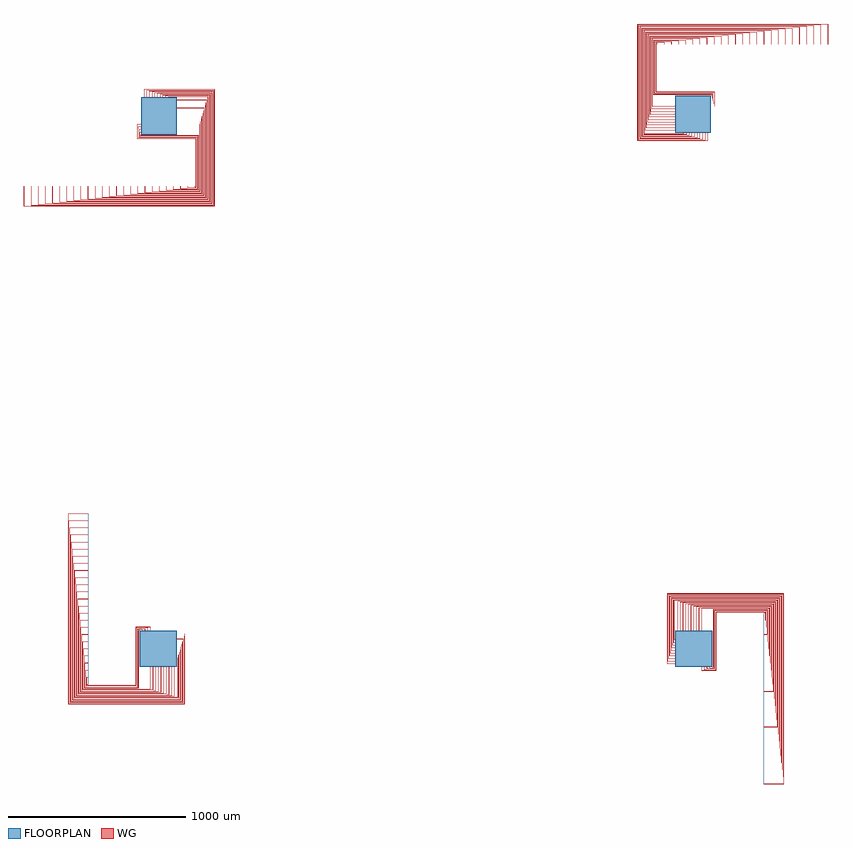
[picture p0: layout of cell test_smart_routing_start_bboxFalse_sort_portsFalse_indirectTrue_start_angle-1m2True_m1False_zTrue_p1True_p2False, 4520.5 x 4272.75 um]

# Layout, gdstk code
import gdstk
lib = gdstk.Library(unit=1e-6, precision=1e-09)
def R(c, l, rs):  # rectangles x0, y0, x1, y1
    for r in rs: c.add(gdstk.rectangle(r[:2], r[2:], *l))
def P(c, l, *ps):  # polygons
    for p in ps: c.add(gdstk.Polygon(p, *l))
WG = (1, 0)
FLOORPLAN = (10, 0)

test_smart_routing_start = lib.new_cell('test_smart_routing_start_bboxFalse_sort_portsFalse_indirectTrue_start_angle-1m2True_m1False_zTrue_p1True_p2False')
P(test_smart_routing_start, WG, [(3100,3049.75),(3100,3049.95),(3122.3,3049.95),(3122.3,3132.55),(2795.55,3132.55),(2795.55,3404.2),(2799.95,3404.2),(2799.95,3400),(2799.75,3400),(2799.75,3404),(2795.75,3404),(2795.75,3132.75),(3122.5,3132.75),(3122.5,3049.75)],
  [(3100,3050.05),(3100,3050.25),(3122,3050.25),(3122,3132.25),(2795.25,3132.25),(2795.25,3404.5),(2800.25,3404.5),(2800.25,3400),(2800.05,3400),(2800.05,3404.3),(2795.45,3404.3),(2795.45,3132.45),(3122.2,3132.45),(3122.2,3050.05)],
  [(3100,3064.75),(3100,3064.95),(3117.8,3064.95),(3117.8,3128.05),(2791.05,3128.05),(2791.05,3408.7),(2839.95,3408.7),(2839.95,3400),(2839.75,3400),(2839.75,3408.5),(2791.25,3408.5),(2791.25,3128.25),(3118,3128.25),(3118,3064.75)],
  [(3100,3065.05),(3100,3065.25),(3117.5,3065.25),(3117.5,3127.75),(2790.75,3127.75),(2790.75,3409),(2840.25,3409),(2840.25,3400),(2840.05,3400),(2840.05,3408.8),(2790.95,3408.8),(2790.95,3127.95),(3117.7,3127.95),(3117.7,3065.05)],
  [(3100,3079.75),(3100,3079.95),(3113.3,3079.95),(3113.3,3123.55),(2786.55,3123.55),(2786.55,3413.2),(2879.95,3413.2),(2879.95,3400),(2879.75,3400),(2879.75,3413),(2786.75,3413),(2786.75,3123.75),(3113.5,3123.75),(3113.5,3079.75)],
  [(3100,3080.05),(3100,3080.25),(3113,3080.25),(3113,3123.25),(2786.25,3123.25),(2786.25,3413.5),(2880.25,3413.5),(2880.25,3400),(2880.05,3400),(2880.05,3413.3),(2786.45,3413.3),(2786.45,3123.45),(3113.2,3123.45),(3113.2,3080.05)],
  [(3100,3094.75),(3100,3094.95),(3108.8,3094.95),(3108.8,3119.05),(2782.05,3119.05),(2782.05,3417.7),(2919.95,3417.7),(2919.95,3400),(2919.75,3400),(2919.75,3417.5),(2782.25,3417.5),(2782.25,3119.25),(3109,3119.25),(3109,3094.75)],
  [(3100,3095.05),(3100,3095.25),(3108.5,3095.25),(3108.5,3118.75),(2781.75,3118.75),(2781.75,3418),(2920.25,3418),(2920.25,3400),(2920.05,3400),(2920.05,3417.8),(2781.95,3417.8),(2781.95,3118.95),(3108.7,3118.95),(3108.7,3095.05)],
  [(3100,3109.75),(3100,3109.95),(3104.3,3109.95),(3104.3,3114.55),(2777.55,3114.55),(2777.55,3422.2),(2959.95,3422.2),(2959.95,3400),(2959.75,3400),(2959.75,3422),(2777.75,3422),(2777.75,3114.75),(3104.5,3114.75),(3104.5,3109.75)],
  [(3100,3110.05),(3100,3110.25),(3104,3110.25),(3104,3114.25),(2777.25,3114.25),(2777.25,3422.5),(2960.25,3422.5),(2960.25,3400),(2960.05,3400),(2960.05,3422.3),(2777.45,3422.3),(2777.45,3114.45),(3104.2,3114.45),(3104.2,3110.05)],
  [(2773.05,3050.05),(2773.05,3426.7),(2999.95,3426.7),(2999.95,3400),(2999.75,3400),(2999.75,3426.5),(2773.25,3426.5),(2773.25,3050.25),(2900,3050.25),(2900,3050.05)],
  [(2772.75,3049.75),(2772.75,3427),(3000.25,3427),(3000.25,3400),(3000.05,3400),(3000.05,3426.8),(2772.95,3426.8),(2772.95,3049.95),(2900,3049.95),(2900,3049.75)],
  [(2768.55,3035.05),(2768.55,3431.2),(3039.95,3431.2),(3039.95,3400),(3039.75,3400),(3039.75,3431),(2768.75,3431),(2768.75,3035.25),(2900,3035.25),(2900,3035.05)],
  [(2768.25,3034.75),(2768.25,3431.5),(3040.25,3431.5),(3040.25,3400),(3040.05,3400),(3040.05,3431.3),(2768.45,3431.3),(2768.45,3034.95),(2900,3034.95),(2900,3034.75)],
  [(2764.05,3020.05),(2764.05,3435.7),(3079.95,3435.7),(3079.95,3400),(3079.75,3400),(3079.75,3435.5),(2764.25,3435.5),(2764.25,3020.25),(2900,3020.25),(2900,3020.05)],
  [(2763.75,3019.75),(2763.75,3436),(3080.25,3436),(3080.25,3400),(3080.05,3400),(3080.05,3435.8),(2763.95,3435.8),(2763.95,3019.95),(2900,3019.95),(2900,3019.75)],
  [(2759.55,3005.05),(2759.55,3440.2),(3119.95,3440.2),(3119.95,3400),(3119.75,3400),(3119.75,3440),(2759.75,3440),(2759.75,3005.25),(2900,3005.25),(2900,3005.05)],
  [(2759.25,3004.75),(2759.25,3440.5),(3120.25,3440.5),(3120.25,3400),(3120.05,3400),(3120.05,3440.3),(2759.45,3440.3),(2759.45,3004.95),(2900,3004.95),(2900,3004.75)],
  [(2755.05,2990.05),(2755.05,3444.7),(3159.95,3444.7),(3159.95,3400),(3159.75,3400),(3159.75,3444.5),(2755.25,3444.5),(2755.25,2990.25),(2900,2990.25),(2900,2990.05)],
  [(2754.75,2989.75),(2754.75,3445),(3160.25,3445),(3160.25,3400),(3160.05,3400),(3160.05,3444.8),(2754.95,3444.8),(2754.95,2989.95),(2900,2989.95),(2900,2989.75)],
  [(2750.55,2975.05),(2750.55,3449.2),(3199.95,3449.2),(3199.95,3400),(3199.75,3400),(3199.75,3449),(2750.75,3449),(2750.75,2975.25),(2900,2975.25),(2900,2975.05)],
  [(2750.25,2974.75),(2750.25,3449.5),(3200.25,3449.5),(3200.25,3400),(3200.05,3400),(3200.05,3449.3),(2750.45,3449.3),(2750.45,2974.95),(2900,2974.95),(2900,2974.75)],
  [(2746.05,2960.05),(2746.05,3453.7),(3239.95,3453.7),(3239.95,3400),(3239.75,3400),(3239.75,3453.5),(2746.25,3453.5),(2746.25,2960.25),(2900,2960.25),(2900,2960.05)],
  [(2745.75,2959.75),(2745.75,3454),(3240.25,3454),(3240.25,3400),(3240.05,3400),(3240.05,3453.8),(2745.95,3453.8),(2745.95,2959.95),(2900,2959.95),(2900,2959.75)],
  [(2741.55,2945.05),(2741.55,3458.2),(3279.95,3458.2),(3279.95,3400),(3279.75,3400),(3279.75,3458),(2741.75,3458),(2741.75,2945.25),(2900,2945.25),(2900,2945.05)],
  [(2741.25,2944.75),(2741.25,3458.5),(3280.25,3458.5),(3280.25,3400),(3280.05,3400),(3280.05,3458.3),(2741.45,3458.3),(2741.45,2944.95),(2900,2944.95),(2900,2944.75)],
  [(2737.05,2930.05),(2737.05,3462.7),(3319.95,3462.7),(3319.95,3400),(3319.75,3400),(3319.75,3462.5),(2737.25,3462.5),(2737.25,2930.25),(2900,2930.25),(2900,2930.05)],
  [(2736.75,2929.75),(2736.75,3463),(3320.25,3463),(3320.25,3400),(3320.05,3400),(3320.05,3462.8),(2736.95,3462.8),(2736.95,2929.95),(2900,2929.95),(2900,2929.75)],
  [(2732.55,2915.05),(2732.55,3467.2),(3359.95,3467.2),(3359.95,3400),(3359.75,3400),(3359.75,3467),(2732.75,3467),(2732.75,2915.25),(2900,2915.25),(2900,2915.05)],
  [(2732.25,2914.75),(2732.25,3467.5),(3360.25,3467.5),(3360.25,3400),(3360.05,3400),(3360.05,3467.3),(2732.45,3467.3),(2732.45,2914.95),(2900,2914.95),(2900,2914.75)],
  [(2728.05,2895.8),(2728.05,3471.7),(3399.95,3471.7),(3399.95,3400),(3399.75,3400),(3399.75,3471.5),(2728.25,3471.5),(2728.25,2896),(2949.75,2896),(2949.75,2900),(2949.95,2900),(2949.95,2895.8)],
  [(2727.75,2895.5),(2727.75,3472),(3400.25,3472),(3400.25,3400),(3400.05,3400),(3400.05,3471.8),(2727.95,3471.8),(2727.95,2895.7),(2950.05,2895.7),(2950.05,2900),(2950.25,2900),(2950.25,2895.5)],
  [(2723.55,2891.3),(2723.55,3476.2),(3439.95,3476.2),(3439.95,3400),(3439.75,3400),(3439.75,3476),(2723.75,3476),(2723.75,2891.5),(2964.75,2891.5),(2964.75,2900),(2964.95,2900),(2964.95,2891.3)],
  [(2723.25,2891),(2723.25,3476.5),(3440.25,3476.5),(3440.25,3400),(3440.05,3400),(3440.05,3476.3),(2723.45,3476.3),(2723.45,2891.2),(2965.05,2891.2),(2965.05,2900),(2965.25,2900),(2965.25,2891)],
  [(2719.05,2886.8),(2719.05,3480.7),(3479.95,3480.7),(3479.95,3400),(3479.75,3400),(3479.75,3480.5),(2719.25,3480.5),(2719.25,2887),(2979.75,2887),(2979.75,2900),(2979.95,2900),(2979.95,2886.8)],
  [(2718.75,2886.5),(2718.75,3481),(3480.25,3481),(3480.25,3400),(3480.05,3400),(3480.05,3480.8),(2718.95,3480.8),(2718.95,2886.7),(2980.05,2886.7),(2980.05,2900),(2980.25,2900),(2980.25,2886.5)],
  [(2714.55,2882.3),(2714.55,3485.2),(3519.95,3485.2),(3519.95,3400),(3519.75,3400),(3519.75,3485),(2714.75,3485),(2714.75,2882.5),(2994.75,2882.5),(2994.75,2900),(2994.95,2900),(2994.95,2882.3)],
  [(2714.25,2882),(2714.25,3485.5),(3520.25,3485.5),(3520.25,3400),(3520.05,3400),(3520.05,3485.3),(2714.45,3485.3),(2714.45,2882.2),(2995.05,2882.2),(2995.05,2900),(2995.25,2900),(2995.25,2882)],
  [(2710.05,2877.8),(2710.05,3489.7),(3559.95,3489.7),(3559.95,3400),(3559.75,3400),(3559.75,3489.5),(2710.25,3489.5),(2710.25,2878),(3009.75,2878),(3009.75,2900),(3009.95,2900),(3009.95,2877.8)],
  [(2709.75,2877.5),(2709.75,3490),(3560.25,3490),(3560.25,3400),(3560.05,3400),(3560.05,3489.8),(2709.95,3489.8),(2709.95,2877.7),(3010.05,2877.7),(3010.05,2900),(3010.25,2900),(3010.25,2877.5)],
  [(2705.55,2873.3),(2705.55,3494.2),(3599.95,3494.2),(3599.95,3400),(3599.75,3400),(3599.75,3494),(2705.75,3494),(2705.75,2873.5),(3024.75,2873.5),(3024.75,2900),(3024.95,2900),(3024.95,2873.3)],
  [(2705.25,2873),(2705.25,3494.5),(3600.25,3494.5),(3600.25,3400),(3600.05,3400),(3600.05,3494.3),(2705.45,3494.3),(2705.45,2873.2),(3025.05,2873.2),(3025.05,2900),(3025.25,2900),(3025.25,2873)],
  [(2701.05,2868.8),(2701.05,3498.7),(3639.95,3498.7),(3639.95,3400),(3639.75,3400),(3639.75,3498.5),(2701.25,3498.5),(2701.25,2869),(3039.75,2869),(3039.75,2900),(3039.95,2900),(3039.95,2868.8)],
  [(2700.75,2868.5),(2700.75,3499),(3640.25,3499),(3640.25,3400),(3640.05,3400),(3640.05,3498.8),(2700.95,3498.8),(2700.95,2868.7),(3040.05,2868.7),(3040.05,2900),(3040.25,2900),(3040.25,2868.5)],
  [(2696.55,2864.3),(2696.55,3503.2),(3679.95,3503.2),(3679.95,3400),(3679.75,3400),(3679.75,3503),(2696.75,3503),(2696.75,2864.5),(3054.75,2864.5),(3054.75,2900),(3054.95,2900),(3054.95,2864.3)],
  [(2696.25,2864),(2696.25,3503.5),(3680.25,3503.5),(3680.25,3400),(3680.05,3400),(3680.05,3503.3),(2696.45,3503.3),(2696.45,2864.2),(3055.05,2864.2),(3055.05,2900),(3055.25,2900),(3055.25,2864)],
  [(2692.05,2859.8),(2692.05,3507.7),(3719.95,3507.7),(3719.95,3400),(3719.75,3400),(3719.75,3507.5),(2692.25,3507.5),(2692.25,2860),(3069.75,2860),(3069.75,2900),(3069.95,2900),(3069.95,2859.8)],
  [(2691.75,2859.5),(2691.75,3508),(3720.25,3508),(3720.25,3400),(3720.05,3400),(3720.05,3507.8),(2691.95,3507.8),(2691.95,2859.7),(3070.05,2859.7),(3070.05,2900),(3070.25,2900),(3070.25,2859.5)],
  [(2687.55,2855.3),(2687.55,3512.2),(3759.95,3512.2),(3759.95,3400),(3759.75,3400),(3759.75,3512),(2687.75,3512),(2687.75,2855.5),(3084.75,2855.5),(3084.75,2900),(3084.95,2900),(3084.95,2855.3)],
  [(2687.25,2855),(2687.25,3512.5),(3760.25,3512.5),(3760.25,3400),(3760.05,3400),(3760.05,3512.3),(2687.45,3512.3),(2687.45,2855.2),(3085.05,2855.2),(3085.05,2900),(3085.25,2900),(3085.25,2855)],
  [(199.75,2595.5),(199.75,2600),(199.95,2600),(199.95,2595.7),(204.55,2595.7),(204.55,2867.55),(-122.2,2867.55),(-122.2,2949.95),(-100,2949.95),(-100,2949.75),(-122,2949.75),(-122,2867.75),(204.75,2867.75),(204.75,2595.5)],
  [(200.05,2595.8),(200.05,2600),(200.25,2600),(200.25,2596),(204.25,2596),(204.25,2867.25),(-122.5,2867.25),(-122.5,2950.25),(-100,2950.25),(-100,2950.05),(-122.3,2950.05),(-122.3,2867.45),(204.45,2867.45),(204.45,2595.8)],
  [(159.75,2591),(159.75,2600),(159.95,2600),(159.95,2591.2),(209.05,2591.2),(209.05,2872.05),(-117.7,2872.05),(-117.7,2934.95),(-100,2934.95),(-100,2934.75),(-117.5,2934.75),(-117.5,2872.25),(209.25,2872.25),(209.25,2591)],
  [(160.05,2591.3),(160.05,2600),(160.25,2600),(160.25,2591.5),(208.75,2591.5),(208.75,2871.75),(-118,2871.75),(-118,2935.25),(-100,2935.25),(-100,2935.05),(-117.8,2935.05),(-117.8,2871.95),(208.95,2871.95),(208.95,2591.3)],
  [(119.75,2586.5),(119.75,2600),(119.95,2600),(119.95,2586.7),(213.55,2586.7),(213.55,2876.55),(-113.2,2876.55),(-113.2,2919.95),(-100,2919.95),(-100,2919.75),(-113,2919.75),(-113,2876.75),(213.75,2876.75),(213.75,2586.5)],
  [(120.05,2586.8),(120.05,2600),(120.25,2600),(120.25,2587),(213.25,2587),(213.25,2876.25),(-113.5,2876.25),(-113.5,2920.25),(-100,2920.25),(-100,2920.05),(-113.3,2920.05),(-113.3,2876.45),(213.45,2876.45),(213.45,2586.8)],
  [(79.75,2582),(79.75,2600),(79.95,2600),(79.95,2582.2),(218.05,2582.2),(218.05,2881.05),(-108.7,2881.05),(-108.7,2904.95),(-100,2904.95),(-100,2904.75),(-108.5,2904.75),(-108.5,2881.25),(218.25,2881.25),(218.25,2582)],
  [(80.05,2582.3),(80.05,2600),(80.25,2600),(80.25,2582.5),(217.75,2582.5),(217.75,2880.75),(-109,2880.75),(-109,2905.25),(-100,2905.25),(-100,2905.05),(-108.8,2905.05),(-108.8,2880.95),(217.95,2880.95),(217.95,2582.3)],
  [(39.75,2577.5),(39.75,2600),(39.95,2600),(39.95,2577.7),(222.55,2577.7),(222.55,2885.55),(-104.2,2885.55),(-104.2,2889.95),(-100,2889.95),(-100,2889.75),(-104,2889.75),(-104,2885.75),(222.75,2885.75),(222.75,2577.5)],
  [(40.05,2577.8),(40.05,2600),(40.25,2600),(40.25,2578),(222.25,2578),(222.25,2885.25),(-104.5,2885.25),(-104.5,2890.25),(-100,2890.25),(-100,2890.05),(-104.3,2890.05),(-104.3,2885.45),(222.45,2885.45),(222.45,2577.8)],
  [(0.05,2573.3),(0.05,2600),(0.25,2600),(0.25,2573.5),(226.75,2573.5),(226.75,2949.75),(100,2949.75),(100,2949.95),(226.95,2949.95),(226.95,2573.3)],
  [(-0.25,2573),(-0.25,2600),(-0.05,2600),(-0.05,2573.2),(227.05,2573.2),(227.05,2950.05),(100,2950.05),(100,2950.25),(227.25,2950.25),(227.25,2573)],
  [(-39.95,2568.8),(-39.95,2600),(-39.75,2600),(-39.75,2569),(231.25,2569),(231.25,2964.75),(100,2964.75),(100,2964.95),(231.45,2964.95),(231.45,2568.8)],
  [(-40.25,2568.5),(-40.25,2600),(-40.05,2600),(-40.05,2568.7),(231.55,2568.7),(231.55,2965.05),(100,2965.05),(100,2965.25),(231.75,2965.25),(231.75,2568.5)],
  [(-79.95,2564.3),(-79.95,2600),(-79.75,2600),(-79.75,2564.5),(235.75,2564.5),(235.75,2979.75),(100,2979.75),(100,2979.95),(235.95,2979.95),(235.95,2564.3)],
  [(-80.25,2564),(-80.25,2600),(-80.05,2600),(-80.05,2564.2),(236.05,2564.2),(236.05,2980.05),(100,2980.05),(100,2980.25),(236.25,2980.25),(236.25,2564)],
  [(-119.95,2559.8),(-119.95,2600),(-119.75,2600),(-119.75,2560),(240.25,2560),(240.25,2994.75),(100,2994.75),(100,2994.95),(240.45,2994.95),(240.45,2559.8)],
  [(-120.25,2559.5),(-120.25,2600),(-120.05,2600),(-120.05,2559.7),(240.55,2559.7),(240.55,2995.05),(100,2995.05),(100,2995.25),(240.75,2995.25),(240.75,2559.5)],
  [(-159.95,2555.3),(-159.95,2600),(-159.75,2600),(-159.75,2555.5),(244.75,2555.5),(244.75,3009.75),(100,3009.75),(100,3009.95),(244.95,3009.95),(244.95,2555.3)],
  [(-160.25,2555),(-160.25,2600),(-160.05,2600),(-160.05,2555.2),(245.05,2555.2),(245.05,3010.05),(100,3010.05),(100,3010.25),(245.25,3010.25),(245.25,2555)],
  [(-199.95,2550.8),(-199.95,2600),(-199.75,2600),(-199.75,2551),(249.25,2551),(249.25,3024.75),(100,3024.75),(100,3024.95),(249.45,3024.95),(249.45,2550.8)],
  [(-200.25,2550.5),(-200.25,2600),(-200.05,2600),(-200.05,2550.7),(249.55,2550.7),(249.55,3025.05),(100,3025.05),(100,3025.25),(249.75,3025.25),(249.75,2550.5)],
  [(-239.95,2546.3),(-239.95,2600),(-239.75,2600),(-239.75,2546.5),(253.75,2546.5),(253.75,3039.75),(100,3039.75),(100,3039.95),(253.95,3039.95),(253.95,2546.3)],
  [(-240.25,2546),(-240.25,2600),(-240.05,2600),(-240.05,2546.2),(254.05,2546.2),(254.05,3040.05),(100,3040.05),(100,3040.25),(254.25,3040.25),(254.25,2546)],
  [(-279.95,2541.8),(-279.95,2600),(-279.75,2600),(-279.75,2542),(258.25,2542),(258.25,3054.75),(100,3054.75),(100,3054.95),(258.45,3054.95),(258.45,2541.8)],
  [(-280.25,2541.5),(-280.25,2600),(-280.05,2600),(-280.05,2541.7),(258.55,2541.7),(258.55,3055.05),(100,3055.05),(100,3055.25),(258.75,3055.25),(258.75,2541.5)],
  [(-319.95,2537.3),(-319.95,2600),(-319.75,2600),(-319.75,2537.5),(262.75,2537.5),(262.75,3069.75),(100,3069.75),(100,3069.95),(262.95,3069.95),(262.95,2537.3)],
  [(-320.25,2537),(-320.25,2600),(-320.05,2600),(-320.05,2537.2),(263.05,2537.2),(263.05,3070.05),(100,3070.05),(100,3070.25),(263.25,3070.25),(263.25,2537)],
  [(-359.95,2532.8),(-359.95,2600),(-359.75,2600),(-359.75,2533),(267.25,2533),(267.25,3084.75),(100,3084.75),(100,3084.95),(267.45,3084.95),(267.45,2532.8)],
  [(-360.25,2532.5),(-360.25,2600),(-360.05,2600),(-360.05,2532.7),(267.55,2532.7),(267.55,3085.05),(100,3085.05),(100,3085.25),(267.75,3085.25),(267.75,2532.5)],
  [(-399.95,2528.3),(-399.95,2600),(-399.75,2600),(-399.75,2528.5),(271.75,2528.5),(271.75,3104),(50.25,3104),(50.25,3100),(50.05,3100),(50.05,3104.2),(271.95,3104.2),(271.95,2528.3)],
  [(-400.25,2528),(-400.25,2600),(-400.05,2600),(-400.05,2528.2),(272.05,2528.2),(272.05,3104.3),(49.95,3104.3),(49.95,3100),(49.75,3100),(49.75,3104.5),(272.25,3104.5),(272.25,2528)],
  [(-439.95,2523.8),(-439.95,2600),(-439.75,2600),(-439.75,2524),(276.25,2524),(276.25,3108.5),(35.25,3108.5),(35.25,3100),(35.05,3100),(35.05,3108.7),(276.45,3108.7),(276.45,2523.8)],
  [(-440.25,2523.5),(-440.25,2600),(-440.05,2600),(-440.05,2523.7),(276.55,2523.7),(276.55,3108.8),(34.95,3108.8),(34.95,3100),(34.75,3100),(34.75,3109),(276.75,3109),(276.75,2523.5)],
  [(-479.95,2519.3),(-479.95,2600),(-479.75,2600),(-479.75,2519.5),(280.75,2519.5),(280.75,3113),(20.25,3113),(20.25,3100),(20.05,3100),(20.05,3113.2),(280.95,3113.2),(280.95,2519.3)],
  [(-480.25,2519),(-480.25,2600),(-480.05,2600),(-480.05,2519.2),(281.05,2519.2),(281.05,3113.3),(19.95,3113.3),(19.95,3100),(19.75,3100),(19.75,3113.5),(281.25,3113.5),(281.25,2519)],
  [(-519.95,2514.8),(-519.95,2600),(-519.75,2600),(-519.75,2515),(285.25,2515),(285.25,3117.5),(5.25,3117.5),(5.25,3100),(5.05,3100),(5.05,3117.7),(285.45,3117.7),(285.45,2514.8)],
  [(-520.25,2514.5),(-520.25,2600),(-520.05,2600),(-520.05,2514.7),(285.55,2514.7),(285.55,3117.8),(4.95,3117.8),(4.95,3100),(4.75,3100),(4.75,3118),(285.75,3118),(285.75,2514.5)],
  [(-559.95,2510.3),(-559.95,2600),(-559.75,2600),(-559.75,2510.5),(289.75,2510.5),(289.75,3122),(-9.75,3122),(-9.75,3100),(-9.95,3100),(-9.95,3122.2),(289.95,3122.2),(289.95,2510.3)],
  [(-560.25,2510),(-560.25,2600),(-560.05,2600),(-560.05,2510.2),(290.05,2510.2),(290.05,3122.3),(-10.05,3122.3),(-10.05,3100),(-10.25,3100),(-10.25,3122.5),(290.25,3122.5),(290.25,2510)],
  [(-599.95,2505.8),(-599.95,2600),(-599.75,2600),(-599.75,2506),(294.25,2506),(294.25,3126.5),(-24.75,3126.5),(-24.75,3100),(-24.95,3100),(-24.95,3126.7),(294.45,3126.7),(294.45,2505.8)],
  [(-600.25,2505.5),(-600.25,2600),(-600.05,2600),(-600.05,2505.7),(294.55,2505.7),(294.55,3126.8),(-25.05,3126.8),(-25.05,3100),(-25.25,3100),(-25.25,3127),(294.75,3127),(294.75,2505.5)],
  [(-639.95,2501.3),(-639.95,2600),(-639.75,2600),(-639.75,2501.5),(298.75,2501.5),(298.75,3131),(-39.75,3131),(-39.75,3100),(-39.95,3100),(-39.95,3131.2),(298.95,3131.2),(298.95,2501.3)],
  [(-640.25,2501),(-640.25,2600),(-640.05,2600),(-640.05,2501.2),(299.05,2501.2),(299.05,3131.3),(-40.05,3131.3),(-40.05,3100),(-40.25,3100),(-40.25,3131.5),(299.25,3131.5),(299.25,2501)],
  [(-679.95,2496.8),(-679.95,2600),(-679.75,2600),(-679.75,2497),(303.25,2497),(303.25,3135.5),(-54.75,3135.5),(-54.75,3100),(-54.95,3100),(-54.95,3135.7),(303.45,3135.7),(303.45,2496.8)],
  [(-680.25,2496.5),(-680.25,2600),(-680.05,2600),(-680.05,2496.7),(303.55,2496.7),(303.55,3135.8),(-55.05,3135.8),(-55.05,3100),(-55.25,3100),(-55.25,3136),(303.75,3136),(303.75,2496.5)],
  [(-719.95,2492.3),(-719.95,2600),(-719.75,2600),(-719.75,2492.5),(307.75,2492.5),(307.75,3140),(-69.75,3140),(-69.75,3100),(-69.95,3100),(-69.95,3140.2),(307.95,3140.2),(307.95,2492.3)],
  [(-720.25,2492),(-720.25,2600),(-720.05,2600),(-720.05,2492.2),(308.05,2492.2),(308.05,3140.3),(-70.05,3140.3),(-70.05,3100),(-70.25,3100),(-70.25,3140.5),(308.25,3140.5),(308.25,2492)],
  [(-759.95,2487.8),(-759.95,2600),(-759.75,2600),(-759.75,2488),(312.25,2488),(312.25,3144.5),(-84.75,3144.5),(-84.75,3100),(-84.95,3100),(-84.95,3144.7),(312.45,3144.7),(312.45,2487.8)],
  [(-760.25,2487.5),(-760.25,2600),(-760.05,2600),(-760.05,2487.7),(312.55,2487.7),(312.55,3144.8),(-85.05,3144.8),(-85.05,3100),(-85.25,3100),(-85.25,3145),(312.75,3145),(312.75,2487.5)],
  [(-404.5,-204.75),(-404.5,-199.75),(-400,-199.75),(-400,-199.95),(-404.3,-199.95),(-404.3,-204.55),(-132.45,-204.55),(-132.45,122.2),(-50.05,122.2),(-50.05,100),(-50.25,100),(-50.25,122),(-132.25,122),(-132.25,-204.75)],
  [(-404.2,-204.45),(-404.2,-200.05),(-400,-200.05),(-400,-200.25),(-404,-200.25),(-404,-204.25),(-132.75,-204.25),(-132.75,122.5),(-49.75,122.5),(-49.75,100),(-49.95,100),(-49.95,122.3),(-132.55,122.3),(-132.55,-204.45)],
  [(-409,-209.25),(-409,-159.75),(-400,-159.75),(-400,-159.95),(-408.8,-159.95),(-408.8,-209.05),(-127.95,-209.05),(-127.95,117.7),(-65.05,117.7),(-65.05,100),(-65.25,100),(-65.25,117.5),(-127.75,117.5),(-127.75,-209.25)],
  [(-408.7,-208.95),(-408.7,-160.05),(-400,-160.05),(-400,-160.25),(-408.5,-160.25),(-408.5,-208.75),(-128.25,-208.75),(-128.25,118),(-64.75,118),(-64.75,100),(-64.95,100),(-64.95,117.8),(-128.05,117.8),(-128.05,-208.95)],
  [(-413.5,-213.75),(-413.5,-119.75),(-400,-119.75),(-400,-119.95),(-413.3,-119.95),(-413.3,-213.55),(-123.45,-213.55),(-123.45,113.2),(-80.05,113.2),(-80.05,100),(-80.25,100),(-80.25,113),(-123.25,113),(-123.25,-213.75)],
  [(-413.2,-213.45),(-413.2,-120.05),(-400,-120.05),(-400,-120.25),(-413,-120.25),(-413,-213.25),(-123.75,-213.25),(-123.75,113.5),(-79.75,113.5),(-79.75,100),(-79.95,100),(-79.95,113.3),(-123.55,113.3),(-123.55,-213.45)],
  [(-418,-218.25),(-418,-79.75),(-400,-79.75),(-400,-79.95),(-417.8,-79.95),(-417.8,-218.05),(-118.95,-218.05),(-118.95,108.7),(-95.05,108.7),(-95.05,100),(-95.25,100),(-95.25,108.5),(-118.75,108.5),(-118.75,-218.25)],
  [(-417.7,-217.95),(-417.7,-80.05),(-400,-80.05),(-400,-80.25),(-417.5,-80.25),(-417.5,-217.75),(-119.25,-217.75),(-119.25,109),(-94.75,109),(-94.75,100),(-94.95,100),(-94.95,108.8),(-119.05,108.8),(-119.05,-217.95)],
  [(-422.5,-222.75),(-422.5,-39.75),(-400,-39.75),(-400,-39.95),(-422.3,-39.95),(-422.3,-222.55),(-114.45,-222.55),(-114.45,104.2),(-110.05,104.2),(-110.05,100),(-110.25,100),(-110.25,104),(-114.25,104),(-114.25,-222.75)],
  [(-422.2,-222.45),(-422.2,-40.05),(-400,-40.05),(-400,-40.25),(-422,-40.25),(-422,-222.25),(-114.75,-222.25),(-114.75,104.5),(-109.75,104.5),(-109.75,100),(-109.95,100),(-109.95,104.3),(-114.55,104.3),(-114.55,-222.45)],
  [(-426.7,-226.95),(-426.7,-0.05),(-400,-0.05),(-400,-0.25),(-426.5,-0.25),(-426.5,-226.75),(-50.25,-226.75),(-50.25,-100),(-50.05,-100),(-50.05,-226.95)],
  [(-427,-227.25),(-427,0.25),(-400,0.25),(-400,0.05),(-426.8,0.05),(-426.8,-227.05),(-49.95,-227.05),(-49.95,-100),(-49.75,-100),(-49.75,-227.25)],
  [(-431.2,-231.45),(-431.2,39.95),(-400,39.95),(-400,39.75),(-431,39.75),(-431,-231.25),(-35.25,-231.25),(-35.25,-100),(-35.05,-100),(-35.05,-231.45)],
  [(-431.5,-231.75),(-431.5,40.25),(-400,40.25),(-400,40.05),(-431.3,40.05),(-431.3,-231.55),(-34.95,-231.55),(-34.95,-100),(-34.75,-100),(-34.75,-231.75)],
  [(-435.7,-235.95),(-435.7,79.95),(-400,79.95),(-400,79.75),(-435.5,79.75),(-435.5,-235.75),(-20.25,-235.75),(-20.25,-100),(-20.05,-100),(-20.05,-235.95)],
  [(-436,-236.25),(-436,80.25),(-400,80.25),(-400,80.05),(-435.8,80.05),(-435.8,-236.05),(-19.95,-236.05),(-19.95,-100),(-19.75,-100),(-19.75,-236.25)],
  [(-440.2,-240.45),(-440.2,119.95),(-400,119.95),(-400,119.75),(-440,119.75),(-440,-240.25),(-5.25,-240.25),(-5.25,-100),(-5.05,-100),(-5.05,-240.45)],
  [(-440.5,-240.75),(-440.5,120.25),(-400,120.25),(-400,120.05),(-440.3,120.05),(-440.3,-240.55),(-4.95,-240.55),(-4.95,-100),(-4.75,-100),(-4.75,-240.75)],
  [(-444.7,-244.95),(-444.7,159.95),(-400,159.95),(-400,159.75),(-444.5,159.75),(-444.5,-244.75),(9.75,-244.75),(9.75,-100),(9.95,-100),(9.95,-244.95)],
  [(-445,-245.25),(-445,160.25),(-400,160.25),(-400,160.05),(-444.8,160.05),(-444.8,-245.05),(10.05,-245.05),(10.05,-100),(10.25,-100),(10.25,-245.25)],
  [(-449.2,-249.45),(-449.2,199.95),(-400,199.95),(-400,199.75),(-449,199.75),(-449,-249.25),(24.75,-249.25),(24.75,-100),(24.95,-100),(24.95,-249.45)],
  [(-449.5,-249.75),(-449.5,200.25),(-400,200.25),(-400,200.05),(-449.3,200.05),(-449.3,-249.55),(25.05,-249.55),(25.05,-100),(25.25,-100),(25.25,-249.75)],
  [(-453.7,-253.95),(-453.7,239.95),(-400,239.95),(-400,239.75),(-453.5,239.75),(-453.5,-253.75),(39.75,-253.75),(39.75,-100),(39.95,-100),(39.95,-253.95)],
  [(-454,-254.25),(-454,240.25),(-400,240.25),(-400,240.05),(-453.8,240.05),(-453.8,-254.05),(40.05,-254.05),(40.05,-100),(40.25,-100),(40.25,-254.25)],
  [(-458.2,-258.45),(-458.2,279.95),(-400,279.95),(-400,279.75),(-458,279.75),(-458,-258.25),(54.75,-258.25),(54.75,-100),(54.95,-100),(54.95,-258.45)],
  [(-458.5,-258.75),(-458.5,280.25),(-400,280.25),(-400,280.05),(-458.3,280.05),(-458.3,-258.55),(55.05,-258.55),(55.05,-100),(55.25,-100),(55.25,-258.75)],
  [(-462.7,-262.95),(-462.7,319.95),(-400,319.95),(-400,319.75),(-462.5,319.75),(-462.5,-262.75),(69.75,-262.75),(69.75,-100),(69.95,-100),(69.95,-262.95)],
  [(-463,-263.25),(-463,320.25),(-400,320.25),(-400,320.05),(-462.8,320.05),(-462.8,-263.05),(70.05,-263.05),(70.05,-100),(70.25,-100),(70.25,-263.25)],
  [(-467.2,-267.45),(-467.2,359.95),(-400,359.95),(-400,359.75),(-467,359.75),(-467,-267.25),(84.75,-267.25),(84.75,-100),(84.95,-100),(84.95,-267.45)],
  [(-467.5,-267.75),(-467.5,360.25),(-400,360.25),(-400,360.05),(-467.3,360.05),(-467.3,-267.55),(85.05,-267.55),(85.05,-100),(85.25,-100),(85.25,-267.75)],
  [(-471.7,-271.95),(-471.7,399.95),(-400,399.95),(-400,399.75),(-471.5,399.75),(-471.5,-271.75),(104,-271.75),(104,-50.25),(100,-50.25),(100,-50.05),(104.2,-50.05),(104.2,-271.95)],
  [(-472,-272.25),(-472,400.25),(-400,400.25),(-400,400.05),(-471.8,400.05),(-471.8,-272.05),(104.3,-272.05),(104.3,-49.95),(100,-49.95),(100,-49.75),(104.5,-49.75),(104.5,-272.25)],
  [(-476.2,-276.45),(-476.2,439.95),(-400,439.95),(-400,439.75),(-476,439.75),(-476,-276.25),(108.5,-276.25),(108.5,-35.25),(100,-35.25),(100,-35.05),(108.7,-35.05),(108.7,-276.45)],
  [(-476.5,-276.75),(-476.5,440.25),(-400,440.25),(-400,440.05),(-476.3,440.05),(-476.3,-276.55),(108.8,-276.55),(108.8,-34.95),(100,-34.95),(100,-34.75),(109,-34.75),(109,-276.75)],
  [(-480.7,-280.95),(-480.7,479.95),(-400,479.95),(-400,479.75),(-480.5,479.75),(-480.5,-280.75),(113,-280.75),(113,-20.25),(100,-20.25),(100,-20.05),(113.2,-20.05),(113.2,-280.95)],
  [(-481,-281.25),(-481,480.25),(-400,480.25),(-400,480.05),(-480.8,480.05),(-480.8,-281.05),(113.3,-281.05),(113.3,-19.95),(100,-19.95),(100,-19.75),(113.5,-19.75),(113.5,-281.25)],
  [(-485.2,-285.45),(-485.2,519.95),(-400,519.95),(-400,519.75),(-485,519.75),(-485,-285.25),(117.5,-285.25),(117.5,-5.25),(100,-5.25),(100,-5.05),(117.7,-5.05),(117.7,-285.45)],
  [(-485.5,-285.75),(-485.5,520.25),(-400,520.25),(-400,520.05),(-485.3,520.05),(-485.3,-285.55),(117.8,-285.55),(117.8,-4.95),(100,-4.95),(100,-4.75),(118,-4.75),(118,-285.75)],
  [(-489.7,-289.95),(-489.7,559.95),(-400,559.95),(-400,559.75),(-489.5,559.75),(-489.5,-289.75),(122,-289.75),(122,9.75),(100,9.75),(100,9.95),(122.2,9.95),(122.2,-289.95)],
  [(-490,-290.25),(-490,560.25),(-400,560.25),(-400,560.05),(-489.8,560.05),(-489.8,-290.05),(122.3,-290.05),(122.3,10.05),(100,10.05),(100,10.25),(122.5,10.25),(122.5,-290.25)],
  [(-494.2,-294.45),(-494.2,599.95),(-400,599.95),(-400,599.75),(-494,599.75),(-494,-294.25),(126.5,-294.25),(126.5,24.75),(100,24.75),(100,24.95),(126.7,24.95),(126.7,-294.45)],
  [(-494.5,-294.75),(-494.5,600.25),(-400,600.25),(-400,600.05),(-494.3,600.05),(-494.3,-294.55),(126.8,-294.55),(126.8,25.05),(100,25.05),(100,25.25),(127,25.25),(127,-294.75)],
  [(-498.7,-298.95),(-498.7,639.95),(-400,639.95),(-400,639.75),(-498.5,639.75),(-498.5,-298.75),(131,-298.75),(131,39.75),(100,39.75),(100,39.95),(131.2,39.95),(131.2,-298.95)],
  [(-499,-299.25),(-499,640.25),(-400,640.25),(-400,640.05),(-498.8,640.05),(-498.8,-299.05),(131.3,-299.05),(131.3,40.05),(100,40.05),(100,40.25),(131.5,40.25),(131.5,-299.25)],
  [(-503.2,-303.45),(-503.2,679.95),(-400,679.95),(-400,679.75),(-503,679.75),(-503,-303.25),(135.5,-303.25),(135.5,54.75),(100,54.75),(100,54.95),(135.7,54.95),(135.7,-303.45)],
  [(-503.5,-303.75),(-503.5,680.25),(-400,680.25),(-400,680.05),(-503.3,680.05),(-503.3,-303.55),(135.8,-303.55),(135.8,55.05),(100,55.05),(100,55.25),(136,55.25),(136,-303.75)],
  [(-507.7,-307.95),(-507.7,719.95),(-400,719.95),(-400,719.75),(-507.5,719.75),(-507.5,-307.75),(140,-307.75),(140,69.75),(100,69.75),(100,69.95),(140.2,69.95),(140.2,-307.95)],
  [(-508,-308.25),(-508,720.25),(-400,720.25),(-400,720.05),(-507.8,720.05),(-507.8,-308.05),(140.3,-308.05),(140.3,70.05),(100,70.05),(100,70.25),(140.5,70.25),(140.5,-308.25)],
  [(-512.2,-312.45),(-512.2,759.95),(-400,759.95),(-400,759.75),(-512,759.75),(-512,-312.25),(144.5,-312.25),(144.5,84.75),(100,84.75),(100,84.95),(144.7,84.95),(144.7,-312.45)],
  [(-512.5,-312.75),(-512.5,760.25),(-400,760.25),(-400,760.05),(-512.3,760.05),(-512.3,-312.55),(144.8,-312.55),(144.8,85.05),(100,85.05),(100,85.25),(145,85.25),(145,-312.75)],
  [(3049.75,-122.5),(3049.75,-100),(3049.95,-100),(3049.95,-122.3),(3132.55,-122.3),(3132.55,204.45),(3404.2,204.45),(3404.2,200.05),(3400,200.05),(3400,200.25),(3404,200.25),(3404,204.25),(3132.75,204.25),(3132.75,-122.5)],
  [(3050.05,-122.2),(3050.05,-100),(3050.25,-100),(3050.25,-122),(3132.25,-122),(3132.25,204.75),(3404.5,204.75),(3404.5,199.75),(3400,199.75),(3400,199.95),(3404.3,199.95),(3404.3,204.55),(3132.45,204.55),(3132.45,-122.2)],
  [(3064.75,-118),(3064.75,-100),(3064.95,-100),(3064.95,-117.8),(3128.05,-117.8),(3128.05,208.95),(3408.7,208.95),(3408.7,160.05),(3400,160.05),(3400,160.25),(3408.5,160.25),(3408.5,208.75),(3128.25,208.75),(3128.25,-118)],
  [(3065.05,-117.7),(3065.05,-100),(3065.25,-100),(3065.25,-117.5),(3127.75,-117.5),(3127.75,209.25),(3409,209.25),(3409,159.75),(3400,159.75),(3400,159.95),(3408.8,159.95),(3408.8,209.05),(3127.95,209.05),(3127.95,-117.7)],
  [(3079.75,-113.5),(3079.75,-100),(3079.95,-100),(3079.95,-113.3),(3123.55,-113.3),(3123.55,213.45),(3413.2,213.45),(3413.2,120.05),(3400,120.05),(3400,120.25),(3413,120.25),(3413,213.25),(3123.75,213.25),(3123.75,-113.5)],
  [(3080.05,-113.2),(3080.05,-100),(3080.25,-100),(3080.25,-113),(3123.25,-113),(3123.25,213.75),(3413.5,213.75),(3413.5,119.75),(3400,119.75),(3400,119.95),(3413.3,119.95),(3413.3,213.55),(3123.45,213.55),(3123.45,-113.2)],
  [(3094.75,-109),(3094.75,-100),(3094.95,-100),(3094.95,-108.8),(3119.05,-108.8),(3119.05,217.95),(3417.7,217.95),(3417.7,80.05),(3400,80.05),(3400,80.25),(3417.5,80.25),(3417.5,217.75),(3119.25,217.75),(3119.25,-109)],
  [(3095.05,-108.7),(3095.05,-100),(3095.25,-100),(3095.25,-108.5),(3118.75,-108.5),(3118.75,218.25),(3418,218.25),(3418,79.75),(3400,79.75),(3400,79.95),(3417.8,79.95),(3417.8,218.05),(3118.95,218.05),(3118.95,-108.7)],
  [(3109.75,-104.5),(3109.75,-100),(3109.95,-100),(3109.95,-104.3),(3114.55,-104.3),(3114.55,222.45),(3422.2,222.45),(3422.2,40.05),(3400,40.05),(3400,40.25),(3422,40.25),(3422,222.25),(3114.75,222.25),(3114.75,-104.5)],
  [(3110.05,-104.2),(3110.05,-100),(3110.25,-100),(3110.25,-104),(3114.25,-104),(3114.25,222.75),(3422.5,222.75),(3422.5,39.75),(3400,39.75),(3400,39.95),(3422.3,39.95),(3422.3,222.55),(3114.45,222.55),(3114.45,-104.2)],
  [(3400,0.05),(3400,0.25),(3426.5,0.25),(3426.5,226.75),(3050.25,226.75),(3050.25,100),(3050.05,100),(3050.05,226.95),(3426.7,226.95),(3426.7,0.05)],
  [(3400,-0.25),(3400,-0.05),(3426.8,-0.05),(3426.8,227.05),(3049.95,227.05),(3049.95,100),(3049.75,100),(3049.75,227.25),(3427,227.25),(3427,-0.25)],
  [(3400,-39.95),(3400,-39.75),(3431,-39.75),(3431,231.25),(3035.25,231.25),(3035.25,100),(3035.05,100),(3035.05,231.45),(3431.2,231.45),(3431.2,-39.95)],
  [(3400,-40.25),(3400,-40.05),(3431.3,-40.05),(3431.3,231.55),(3034.95,231.55),(3034.95,100),(3034.75,100),(3034.75,231.75),(3431.5,231.75),(3431.5,-40.25)],
  [(3400,-79.95),(3400,-79.75),(3435.5,-79.75),(3435.5,235.75),(3020.25,235.75),(3020.25,100),(3020.05,100),(3020.05,235.95),(3435.7,235.95),(3435.7,-79.95)],
  [(3400,-80.25),(3400,-80.05),(3435.8,-80.05),(3435.8,236.05),(3019.95,236.05),(3019.95,100),(3019.75,100),(3019.75,236.25),(3436,236.25),(3436,-80.25)],
  [(3400,-119.95),(3400,-119.75),(3440,-119.75),(3440,240.25),(3005.25,240.25),(3005.25,100),(3005.05,100),(3005.05,240.45),(3440.2,240.45),(3440.2,-119.95)],
  [(3400,-120.25),(3400,-120.05),(3440.3,-120.05),(3440.3,240.55),(3004.95,240.55),(3004.95,100),(3004.75,100),(3004.75,240.75),(3440.5,240.75),(3440.5,-120.25)],
  [(3400,-159.95),(3400,-159.75),(3444.5,-159.75),(3444.5,244.75),(2990.25,244.75),(2990.25,100),(2990.05,100),(2990.05,244.95),(3444.7,244.95),(3444.7,-159.95)],
  [(3400,-160.25),(3400,-160.05),(3444.8,-160.05),(3444.8,245.05),(2989.95,245.05),(2989.95,100),(2989.75,100),(2989.75,245.25),(3445,245.25),(3445,-160.25)],
  [(3400,-199.95),(3400,-199.75),(3449,-199.75),(3449,249.25),(2975.25,249.25),(2975.25,100),(2975.05,100),(2975.05,249.45),(3449.2,249.45),(3449.2,-199.95)],
  [(3400,-200.25),(3400,-200.05),(3449.3,-200.05),(3449.3,249.55),(2974.95,249.55),(2974.95,100),(2974.75,100),(2974.75,249.75),(3449.5,249.75),(3449.5,-200.25)],
  [(3400,-239.95),(3400,-239.75),(3453.5,-239.75),(3453.5,253.75),(2960.25,253.75),(2960.25,100),(2960.05,100),(2960.05,253.95),(3453.7,253.95),(3453.7,-239.95)],
  [(3400,-240.25),(3400,-240.05),(3453.8,-240.05),(3453.8,254.05),(2959.95,254.05),(2959.95,100),(2959.75,100),(2959.75,254.25),(3454,254.25),(3454,-240.25)],
  [(3400,-279.95),(3400,-279.75),(3458,-279.75),(3458,258.25),(2945.25,258.25),(2945.25,100),(2945.05,100),(2945.05,258.45),(3458.2,258.45),(3458.2,-279.95)],
  [(3400,-280.25),(3400,-280.05),(3458.3,-280.05),(3458.3,258.55),(2944.95,258.55),(2944.95,100),(2944.75,100),(2944.75,258.75),(3458.5,258.75),(3458.5,-280.25)],
  [(3400,-319.95),(3400,-319.75),(3462.5,-319.75),(3462.5,262.75),(2930.25,262.75),(2930.25,100),(2930.05,100),(2930.05,262.95),(3462.7,262.95),(3462.7,-319.95)],
  [(3400,-320.25),(3400,-320.05),(3462.8,-320.05),(3462.8,263.05),(2929.95,263.05),(2929.95,100),(2929.75,100),(2929.75,263.25),(3463,263.25),(3463,-320.25)],
  [(3400,-359.95),(3400,-359.75),(3467,-359.75),(3467,267.25),(2915.25,267.25),(2915.25,100),(2915.05,100),(2915.05,267.45),(3467.2,267.45),(3467.2,-359.95)],
  [(3400,-360.25),(3400,-360.05),(3467.3,-360.05),(3467.3,267.55),(2914.95,267.55),(2914.95,100),(2914.75,100),(2914.75,267.75),(3467.5,267.75),(3467.5,-360.25)],
  [(3400,-399.95),(3400,-399.75),(3471.5,-399.75),(3471.5,271.75),(2896,271.75),(2896,50.25),(2900,50.25),(2900,50.05),(2895.8,50.05),(2895.8,271.95),(3471.7,271.95),(3471.7,-399.95)],
  [(3400,-400.25),(3400,-400.05),(3471.8,-400.05),(3471.8,272.05),(2895.7,272.05),(2895.7,49.95),(2900,49.95),(2900,49.75),(2895.5,49.75),(2895.5,272.25),(3472,272.25),(3472,-400.25)],
  [(3400,-439.95),(3400,-439.75),(3476,-439.75),(3476,276.25),(2891.5,276.25),(2891.5,35.25),(2900,35.25),(2900,35.05),(2891.3,35.05),(2891.3,276.45),(3476.2,276.45),(3476.2,-439.95)],
  [(3400,-440.25),(3400,-440.05),(3476.3,-440.05),(3476.3,276.55),(2891.2,276.55),(2891.2,34.95),(2900,34.95),(2900,34.75),(2891,34.75),(2891,276.75),(3476.5,276.75),(3476.5,-440.25)],
  [(3400,-479.95),(3400,-479.75),(3480.5,-479.75),(3480.5,280.75),(2887,280.75),(2887,20.25),(2900,20.25),(2900,20.05),(2886.8,20.05),(2886.8,280.95),(3480.7,280.95),(3480.7,-479.95)],
  [(3400,-480.25),(3400,-480.05),(3480.8,-480.05),(3480.8,281.05),(2886.7,281.05),(2886.7,19.95),(2900,19.95),(2900,19.75),(2886.5,19.75),(2886.5,281.25),(3481,281.25),(3481,-480.25)],
  [(3400,-519.95),(3400,-519.75),(3485,-519.75),(3485,285.25),(2882.5,285.25),(2882.5,5.25),(2900,5.25),(2900,5.05),(2882.3,5.05),(2882.3,285.45),(3485.2,285.45),(3485.2,-519.95)],
  [(3400,-520.25),(3400,-520.05),(3485.3,-520.05),(3485.3,285.55),(2882.2,285.55),(2882.2,4.95),(2900,4.95),(2900,4.75),(2882,4.75),(2882,285.75),(3485.5,285.75),(3485.5,-520.25)],
  [(3400,-559.95),(3400,-559.75),(3489.5,-559.75),(3489.5,289.75),(2878,289.75),(2878,-9.75),(2900,-9.75),(2900,-9.95),(2877.8,-9.95),(2877.8,289.95),(3489.7,289.95),(3489.7,-559.95)],
  [(3400,-560.25),(3400,-560.05),(3489.8,-560.05),(3489.8,290.05),(2877.7,290.05),(2877.7,-10.05),(2900,-10.05),(2900,-10.25),(2877.5,-10.25),(2877.5,290.25),(3490,290.25),(3490,-560.25)],
  [(3400,-599.95),(3400,-599.75),(3494,-599.75),(3494,294.25),(2873.5,294.25),(2873.5,-24.75),(2900,-24.75),(2900,-24.95),(2873.3,-24.95),(2873.3,294.45),(3494.2,294.45),(3494.2,-599.95)],
  [(3400,-600.25),(3400,-600.05),(3494.3,-600.05),(3494.3,294.55),(2873.2,294.55),(2873.2,-25.05),(2900,-25.05),(2900,-25.25),(2873,-25.25),(2873,294.75),(3494.5,294.75),(3494.5,-600.25)],
  [(3400,-639.95),(3400,-639.75),(3498.5,-639.75),(3498.5,298.75),(2869,298.75),(2869,-39.75),(2900,-39.75),(2900,-39.95),(2868.8,-39.95),(2868.8,298.95),(3498.7,298.95),(3498.7,-639.95)],
  [(3400,-640.25),(3400,-640.05),(3498.8,-640.05),(3498.8,299.05),(2868.7,299.05),(2868.7,-40.05),(2900,-40.05),(2900,-40.25),(2868.5,-40.25),(2868.5,299.25),(3499,299.25),(3499,-640.25)],
  [(3400,-679.95),(3400,-679.75),(3503,-679.75),(3503,303.25),(2864.5,303.25),(2864.5,-54.75),(2900,-54.75),(2900,-54.95),(2864.3,-54.95),(2864.3,303.45),(3503.2,303.45),(3503.2,-679.95)],
  [(3400,-680.25),(3400,-680.05),(3503.3,-680.05),(3503.3,303.55),(2864.2,303.55),(2864.2,-55.05),(2900,-55.05),(2900,-55.25),(2864,-55.25),(2864,303.75),(3503.5,303.75),(3503.5,-680.25)],
  [(3400,-719.95),(3400,-719.75),(3507.5,-719.75),(3507.5,307.75),(2860,307.75),(2860,-69.75),(2900,-69.75),(2900,-69.95),(2859.8,-69.95),(2859.8,307.95),(3507.7,307.95),(3507.7,-719.95)],
  [(3400,-720.25),(3400,-720.05),(3507.8,-720.05),(3507.8,308.05),(2859.7,308.05),(2859.7,-70.05),(2900,-70.05),(2900,-70.25),(2859.5,-70.25),(2859.5,308.25),(3508,308.25),(3508,-720.25)],
  [(3400,-759.95),(3400,-759.75),(3512,-759.75),(3512,312.25),(2855.5,312.25),(2855.5,-84.75),(2900,-84.75),(2900,-84.95),(2855.3,-84.95),(2855.3,312.45),(3512.2,312.45),(3512.2,-759.95)],
  [(3400,-760.25),(3400,-760.05),(3512.3,-760.05),(3512.3,312.55),(2855.2,312.55),(2855.2,-85.05),(2900,-85.05),(2900,-85.25),(2855,-85.25),(2855,312.75),(3512.5,312.75),(3512.5,-760.25)])
R(test_smart_routing_start, FLOORPLAN, [(-110,-100,100,100), (2900,-100,3110,100), (-100,2890,100,3100), (2900,2900,3100,3110)])
P(test_smart_routing_start, FLOORPLAN, [(-400,-200),(-400,760),(-400,760),(-400,-200)],
  [(-760,2600),(-760,2600),(200,2600),(200,2600)],
  [(3400,-760),(3400,200),(3400,200),(3400,-760)],
  [(2800,3400),(2800,3400),(3760,3400),(3760,3400)])

lib.write_gds('test_smart_routing_start_bboxFalse_sort_portsFalse_indirectTrue_start_angle-1m2True_m1False_zTrue_p1True_p2False.gds')
